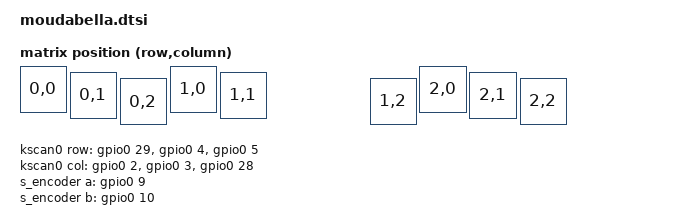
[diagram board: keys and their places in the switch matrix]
/*
 * Copyright (c) 2020 Pete Johanson
 *
 * SPDX-License-Identifier: MIT
 */

#include <dt-bindings/zmk/matrix_transform.h>
#include <physical_layouts.dtsi>
#include <zephyr/dt-bindings/input/input-event-codes.h>

/ {
	chosen {
		zmk,kscan = &kscan0;
		// zmk,matrix-transform = &default_transform;
	};

	default_transform: keymap_transform_0 {
		compatible = "zmk,matrix-transform";
		columns = <3>;
		rows = <3>;
		map = <
		// 	D0 P0.2   D1 P0.3   D2 P0.28
				RC(0,0)   RC(0,1)   RC(0,2)  // D3 P0.29
				RC(1,0)   RC(1,1)   RC(1,2)  // D4 P0.4
				RC(2,0)   RC(2,1)   RC(2,2)  // D5 P0.5
		>;
	};

	kscan0: kscan {
		compatible = "zmk,kscan-gpio-matrix";
		label = "KSCAN";
		diode-direction = "col2row";
		wakeup-source;
		row-gpios
			= <&gpio0 29 (GPIO_ACTIVE_HIGH | GPIO_PULL_DOWN)>
			, <&gpio0 4 (GPIO_ACTIVE_HIGH | GPIO_PULL_DOWN)>
			, <&gpio0 5 (GPIO_ACTIVE_HIGH | GPIO_PULL_DOWN)>
			;
		col-gpios
			= <&gpio0 2 GPIO_ACTIVE_HIGH>
			, <&gpio0 3 GPIO_ACTIVE_HIGH>
		  , <&gpio0 28 GPIO_ACTIVE_HIGH>
			;
	};

	moudabella_col_layout: moudabella_col_layout {
			compatible = "zmk,physical-layout";
			display-name = "moudabella";

			transform = <&default_transform>;
			kscan = <&kscan0>;

			keys  //                     w   h    x    y     rot    rx    ry
					= <&key_physical_attrs 100 100    0    0       0     0     0>
					, <&key_physical_attrs 100 100  100   12       0     0     0>
					, <&key_physical_attrs 100 100  200   25       0     0     0>
					, <&key_physical_attrs 100 100  300    0       0     0     0>
					, <&key_physical_attrs 100 100  400   12       0     0     0>
					, <&key_physical_attrs 100 100  700   24       0     0     0>
					, <&key_physical_attrs 100 100  800    0       0     0     0>
					, <&key_physical_attrs 100 100  900   12       0     0     0>
					, <&key_physical_attrs 100 100 1000   24       0     0     0>
			;
	};

	moudabella_position_map {
			compatible = "zmk,physical-layout-position-map";
			complete;
			ten {
					physical-layout = <&moudabella_col_layout>;
					positions
							= < 0  1  2  >
							, < 3  4  5  >
							, < 6  7  8  >
					;
			};
	};

};

&pinctrl {
	spi2_default: spi2_default {
		group1 {
			psels = <NRF_PSEL(SPIM_SCK, 1, 13)>,
							<NRF_PSEL(SPIM_MOSI, 1, 15)>,
							<NRF_PSEL(SPIM_MISO, 1, 15)>;
		};
	};
	spi2_sleep: spi2_sleep {
		group1 {
			psels = <NRF_PSEL(SPIM_SCK, 1, 13)>,
							<NRF_PSEL(SPIM_MOSI, 1, 15)>,
							<NRF_PSEL(SPIM_MISO, 1, 15)>;
			low-power-enable;
		};
	};
};

// release gpio1 11 & 12 from xiao_ble-pinctrl.dtsi
// for &trackball { irq-gpios }
&uart0 {
	status = "disabled";
};

&spi2 {
	compatible = "nordic,nrf-spim";
  status = "okay";
	pinctrl-0 = <&spi2_default>;
	pinctrl-1 = <&spi2_sleep>;
	pinctrl-names = "default", "sleep";
	cs-gpios = <&gpio1 12 GPIO_ACTIVE_LOW>;

	pd0: pd@0 {
		compatible = "pixart,pmw3610";
	  status = "okay";
		label = "MOU0";
		reg = <0>;
		spi-max-frequency = <4000000>;

		// pmw3610 driver parameters
		irq-gpios = <&gpio1 14 (GPIO_ACTIVE_LOW | GPIO_PULL_UP)>;
		cpi = <600>;
		evt-type = <INPUT_EV_REL>;
		x-input-code = <INPUT_REL_X>;
		y-input-code = <INPUT_REL_Y>;
		force-awake;
	};
};

/{
	s_encoder: s_encoder {
		compatible = "alps,ec11";
    status = "okay";
		// NFC pins in nRF52 series: P0.09 and P0.10
		a-gpios = <&gpio0 9  (GPIO_ACTIVE_HIGH | GPIO_PULL_UP)>;
		b-gpios = <&gpio0 10 (GPIO_ACTIVE_HIGH | GPIO_PULL_UP)>;
		steps = <48>;
	};
	sensors: sensors {
		compatible = "zmk,keymap-sensors";
		status = "okay";
		sensors = <&s_encoder>;
		triggers-per-rotation = <12>;
	};
};
